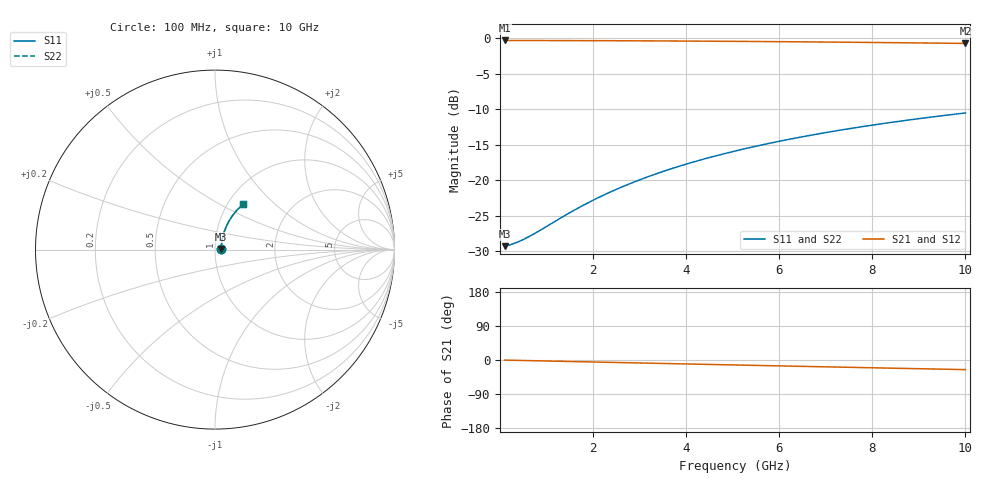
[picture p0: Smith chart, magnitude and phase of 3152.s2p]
# Hz S RI R 50.00
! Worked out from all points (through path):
!   100 points, 100 MHz to 10 GHz, reference 50 ohm
!   highest |S21| = -0.30 dB at 100 MHz (marker M1); lowest = -0.7 dB at 10 GHz (marker M2)
!   group delay of S21, straight-line fit = 7.07 ps
!   lowest |S11| = -29.3 dB at 100 MHz (marker M3), VSWR 1.07, Z = 53.5 + j0.322 ohm
!   |S11| at or under -10 dB: start of sweep to end of sweep
!   |S22| runs from -29.3 to -10.5 dB; largest |S21 - S12| = 0
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1e8  0.0342 0.003  0.9658 -0.00442  0.9658 -0.00442  0.0342 0.003
2e8  0.0344 0.006  0.9656 -0.00883  0.9656 -0.00883  0.0344 0.006
3e8  0.0347 0.009  0.9653 -0.0132  0.9653 -0.0132  0.0347 0.009
4e8  0.0349 0.012  0.9651 -0.0176  0.9651 -0.0176  0.0349 0.012
6e8  0.0354 0.018  0.9646 -0.0265  0.9646 -0.0265  0.0354 0.018
8e8  0.0359 0.0239  0.964 -0.0353  0.964 -0.0353  0.0359 0.0239
1.4e9  0.0381 0.0418  0.9617 -0.0616  0.9617 -0.0616  0.0381 0.0418
1.8e9  0.04 0.0535  0.9596 -0.079  0.9596 -0.079  0.04 0.0535
2.2e9  0.0423 0.0652  0.9571 -0.0964  0.9571 -0.0964  0.0423 0.0652
2.6e9  0.0451 0.0768  0.9542 -0.1136  0.9542 -0.1136  0.0451 0.0768
3e9  0.0482 0.0883  0.9508 -0.1308  0.9508 -0.1308  0.0482 0.0883
3.4e9  0.0517 0.0996  0.947 -0.1477  0.947 -0.1477  0.0517 0.0996
3.8e9  0.0557 0.1107  0.9428 -0.1645  0.9428 -0.1645  0.0557 0.1107
4.2e9  0.06 0.1217  0.9382 -0.1812  0.9382 -0.1812  0.06 0.1217
4.6e9  0.0647 0.1325  0.9331 -0.1976  0.9331 -0.1976  0.0647 0.1325
5.1e9  0.071 0.1456  0.9263 -0.2179  0.9263 -0.2179  0.071 0.1456
5.9e9  0.0823 0.1659  0.9141 -0.2496  0.9141 -0.2496  0.0823 0.1659
6.7e9  0.0949 0.1852  0.9004 -0.2803  0.9004 -0.2803  0.0949 0.1852
7.5e9  0.1087 0.2034  0.8854 -0.3099  0.8854 -0.3099  0.1087 0.2034
8.4e9  0.1255 0.2224  0.8671 -0.3418  0.8671 -0.3418  0.1255 0.2224
9.2e9  0.1414 0.238  0.8497 -0.3689  0.8497 -0.3689  0.1414 0.238
1e10  0.1582 0.2523  0.8313 -0.3947  0.8313 -0.3947  0.1582 0.2523
